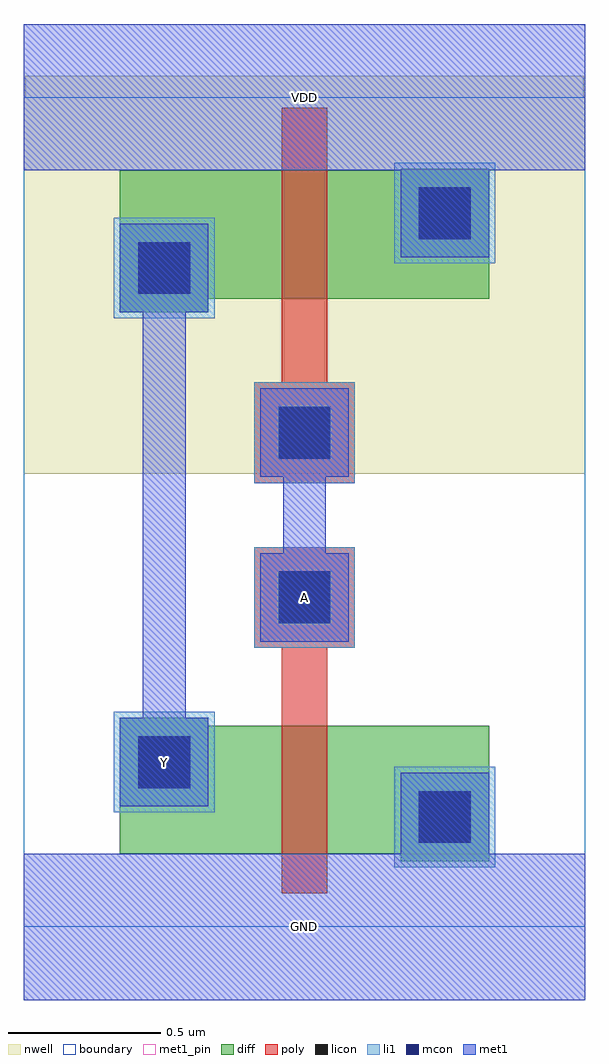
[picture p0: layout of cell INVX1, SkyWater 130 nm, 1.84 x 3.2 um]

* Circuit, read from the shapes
.subckt INVX1 A GND VDD Y
XM1 GND A Y VSUBS sky130_fd_pr__nfet_01v8 w=0.42 l=0.15
XM2 VDD A Y n1 sky130_fd_pr__pfet_01v8 w=0.42 l=0.15
.ends

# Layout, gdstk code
import gdstk
lib = gdstk.Library(unit=1e-6, precision=1e-09)
def R(c, l, rs):  # rectangles x0, y0, x1, y1
    for r in rs: c.add(gdstk.rectangle(r[:2], r[2:], *l))
def P(c, l, *ps):  # polygons
    for p in ps: c.add(gdstk.Polygon(p, *l))
nwell = (64, 20)
diff = (65, 20)
poly = (66, 20)
licon = (66, 44)
li1 = (67, 20)
mcon = (67, 44)
met1_pin = (68, 16)
met1 = (68, 20)
boundary = (235, 4)

invx1 = lib.new_cell('INVX1')
P(invx1, nwell, [(0,1.485),(0,2.72),(0.005,2.72),(0.005,2.79),(1.835,2.79),(1.835,2.72),(1.84,2.72),(1.84,1.485)])
P(invx1, diff, [(1.235,0.215),(1.235,0.24),(0.315,0.24),(0.315,0.685),(0.605,0.685),(0.605,0.66),(1.525,0.66),(1.525,0.215)],
  [(0.315,2.015),(0.315,2.48),(1.235,2.48),(1.235,2.485),(1.525,2.485),(1.525,2.06),(0.605,2.06),(0.605,2.015)])
P(invx1, poly, [(0.845,0.11),(0.845,0.915),(0.755,0.915),(0.755,1.245),(1.085,1.245),(1.085,0.915),(0.995,0.915),(0.995,0.11)],
  [(0.755,1.455),(0.755,1.785),(0.845,1.785),(0.845,2.685),(0.995,2.685),(0.995,1.785),(1.085,1.785),(1.085,1.455)])
R(invx1, licon, [(1.295,0.275,1.465,0.445), (0.375,0.455,0.545,0.625), (0.835,0.995,1.005,1.165), (0.835,1.535,1.005,1.705), (0.375,2.075,0.545,2.245), (1.295,2.255,1.465,2.425)])
R(invx1, li1, [(1.215,0.195,1.545,0.525), (0.295,0.375,0.625,0.705), (0.755,0.915,1.085,1.245), (0.755,1.455,1.085,1.785), (0.295,1.995,0.625,2.325), (1.215,2.175,1.545,2.505)])
R(invx1, mcon, [(1.295,0.275,1.465,0.445), (0.375,0.455,0.545,0.625), (0.835,0.995,1.005,1.165), (0.835,1.535,1.005,1.705), (0.375,2.075,0.545,2.245), (1.295,2.255,1.465,2.425)])
R(invx1, met1_pin, [(0,-0.24,1.84,0.24), (0,2.48,1.84,2.96)])
P(invx1, met1_pin, [(0.315,0.395),(0.315,0.685),(0.39,0.685),(0.39,2.015),(0.315,2.015),(0.315,2.305),(0.605,2.305),(0.605,2.015),(0.53,2.015),(0.53,0.685),(0.605,0.685),(0.605,0.395)],
  [(0.775,0.935),(0.775,1.225),(0.85,1.225),(0.85,1.475),(0.775,1.475),(0.775,1.765),(1.065,1.765),(1.065,1.475),(0.99,1.475),(0.99,1.225),(1.065,1.225),(1.065,0.935)])
P(invx1, met1, [(0,-0.24),(0,0.24),(1.235,0.24),(1.235,0.505),(1.525,0.505),(1.525,0.24),(1.84,0.24),(1.84,-0.24)],
  [(0.775,0.935),(0.775,1.225),(0.85,1.225),(0.85,1.475),(0.775,1.475),(0.775,1.765),(1.065,1.765),(1.065,1.475),(0.99,1.475),(0.99,1.225),(1.065,1.225),(1.065,0.935)],
  [(0.315,0.395),(0.315,0.685),(0.39,0.685),(0.39,2.015),(0.315,2.015),(0.315,2.305),(0.605,2.305),(0.605,2.015),(0.53,2.015),(0.53,0.685),(0.605,0.685),(0.605,0.395)],
  [(1.235,2.195),(1.235,2.48),(0,2.48),(0,2.96),(1.84,2.96),(1.84,2.48),(1.525,2.48),(1.525,2.195)])
R(invx1, boundary, [(0,0,1.84,2.72)])
invx1.add(gdstk.Label('Y', (0.46,0.54), layer=68, texttype=5))
invx1.add(gdstk.Label('A', (0.92,1.08), layer=68, texttype=5))
invx1.add(gdstk.Label('GND', (0.92,0), layer=68, texttype=5))
invx1.add(gdstk.Label('VDD', (0.92,2.72), layer=68, texttype=5))

lib.write_gds('INVX1.gds')
